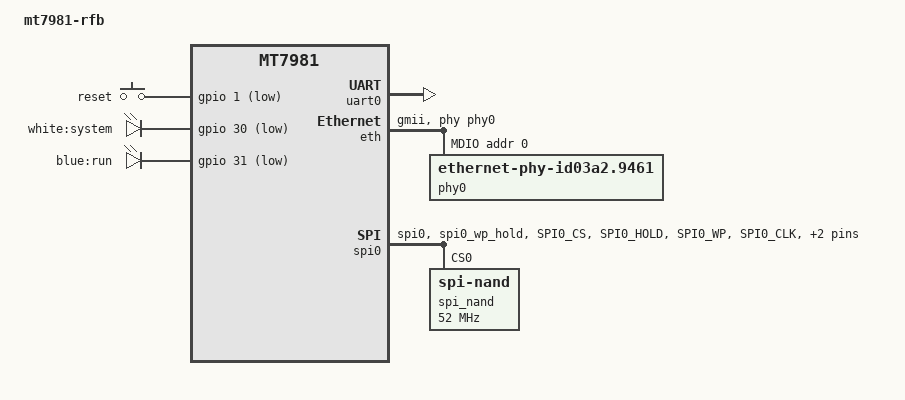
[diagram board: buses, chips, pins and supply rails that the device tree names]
// SPDX-License-Identifier: GPL-2.0
/*
 * Copyright (c) 2021 MediaTek Inc.
 * Author: Sam Shih <sam.shih@mediatek.com>
 */

/dts-v1/;
#include "mt7981.dtsi"
#include <dt-bindings/gpio/gpio.h>

/ {
	#address-cells = <1>;
	#size-cells = <1>;
	model = "mt7981-rfb";
	compatible = "mediatek,mt7981", "mediatek,mt7981-rfb";
	chosen {
		stdout-path = &uart0;
		tick-timer = &timer0;
	};

	config {
		bootcmd = "mtkboardboot";

		blink_led = "blue:run";
		system_led = "white:system";
		gpio_power_clr = <12>;

		environment {
			lu = "mtkupgrade fip uboot-gl-mt3000.bin";
			lf = "mtkupgrade fw openwrt-gl-mt3000.bin";
		};
	};

	gpio-keys-polled {
		compatible = "gpio-keys";

		power-button {
			label = "reset";
			gpios = <&gpio 1 GPIO_ACTIVE_LOW>;
		};
	};

	leds {
		compatible = "gpio-leds";

		led@0 {
			label = "white:system";
			gpios = <&gpio 30 GPIO_ACTIVE_LOW>;
		};

		led@1 {
			label = "blue:run";
			gpios = <&gpio 31 GPIO_ACTIVE_LOW>;
		};
	};
};

&uart0 {
	status = "okay";
};

&eth {
	status = "okay";
	mediatek,gmac-id = <1>;
	phy-mode = "gmii";
	phy-handle = <&phy0>;

	mdio {
		phy0: ethernet-phy@0 {
			compatible = "ethernet-phy-id03a2.9461";
			reg = <0x0>;
			phy-mode = "gmii";
		};
	};
};

&pinctrl {
	spi_flash_pins: spi0-pins-func-1 {
		mux {
			function = "flash";
			groups = "spi0", "spi0_wp_hold";
		};

		conf-pu {
			pins = "SPI0_CS", "SPI0_HOLD", "SPI0_WP";
			drive-strength = <MTK_DRIVE_8mA>;
			bias-pull-up = <MTK_PUPD_SET_R1R0_11>;
		};

		conf-pd {
			pins = "SPI0_CLK", "SPI0_MOSI", "SPI0_MISO";
			drive-strength = <MTK_DRIVE_8mA>;
			bias-pull-down = <MTK_PUPD_SET_R1R0_11>;
		};
	};

	spic_pins: spi1-pins-func-1 {
		mux {
			function = "spi";
			groups = "spi1_1";
		};
	};
};

&spi0 {
	#address-cells = <1>;
	#size-cells = <0>;
	pinctrl-names = "default";
	pinctrl-0 = <&spi_flash_pins>;
	status = "okay";
	must_tx;
	enhance_timing;
	dma_ext;
	ipm_design;
	support_quad;
	tick_dly = <2>;
	sample_sel = <0>;

	spi_nand@0 {
		compatible = "spi-nand";
		reg = <0>;
		spi-max-frequency = <52000000>;
	};
};
